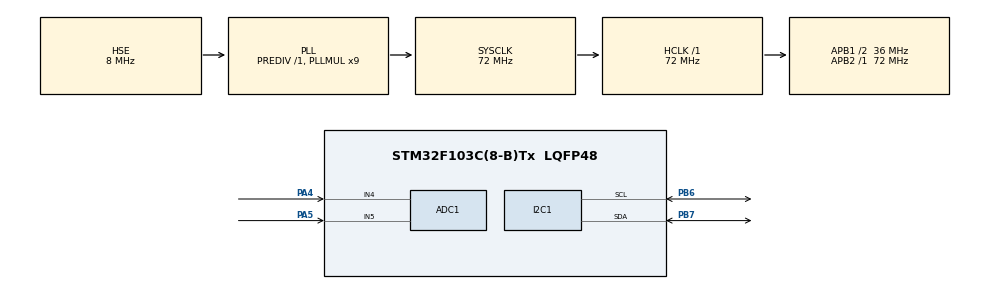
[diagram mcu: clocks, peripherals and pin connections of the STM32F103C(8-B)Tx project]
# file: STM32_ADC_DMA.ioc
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ADC1.Channel-0\#ChannelRegularConversion=ADC_CHANNEL_4
ADC1.Channel-1\#ChannelRegularConversion=ADC_CHANNEL_5
ADC1.Channel-2\#ChannelRegularConversion=ADC_CHANNEL_TEMPSENSOR
ADC1.Channel-3\#ChannelRegularConversion=ADC_CHANNEL_VREFINT
ADC1.ContinuousConvMode=ENABLE
ADC1.NbrOfConversion=4
ADC1.NbrOfConversionFlag=1
ADC1.Rank-0\#ChannelRegularConversion=1
ADC1.Rank-1\#ChannelRegularConversion=2
ADC1.Rank-2\#ChannelRegularConversion=3
ADC1.Rank-3\#ChannelRegularConversion=4
ADC1.SamplingTime-0\#ChannelRegularConversion=ADC_SAMPLETIME_71CYCLES_5
ADC1.SamplingTime-1\#ChannelRegularConversion=ADC_SAMPLETIME_71CYCLES_5
ADC1.SamplingTime-2\#ChannelRegularConversion=ADC_SAMPLETIME_71CYCLES_5
ADC1.SamplingTime-3\#ChannelRegularConversion=ADC_SAMPLETIME_71CYCLES_5
ADC1.master=1
Dma.ADC1.0.Direction=DMA_PERIPH_TO_MEMORY
Dma.ADC1.0.Instance=DMA1_Channel1
Dma.ADC1.0.MemDataAlignment=DMA_MDATAALIGN_WORD
Dma.ADC1.0.MemInc=DMA_MINC_ENABLE
Dma.ADC1.0.Mode=DMA_CIRCULAR
Dma.ADC1.0.PeriphDataAlignment=DMA_PDATAALIGN_WORD
Dma.ADC1.0.PeriphInc=DMA_PINC_DISABLE
Dma.ADC1.0.Priority=DMA_PRIORITY_MEDIUM
Dma.Request0=ADC1
I2C1.I2C_Mode=I2C_Fast
Mcu.Family=STM32F1
Mcu.Name=STM32F103C(8-B)Tx
Mcu.Package=LQFP48
NVIC.DMA1_Channel1_IRQn=true\:0\:0\:false\:false\:true\:false\:true\:true
NVIC.PriorityGroup=NVIC_PRIORITYGROUP_4
PA13.Mode=Serial_Wire
PA13.Signal=SYS_JTMS-SWDIO
PA14.Mode=Serial_Wire
PA14.Signal=SYS_JTCK-SWCLK
PA4.Signal=ADCx_IN4
PA5.Signal=ADCx_IN5
PB6.Mode=I2C
PB6.Signal=I2C1_SCL
PB7.Mode=I2C
PB7.Signal=I2C1_SDA
PD0-OSC_IN.Mode=HSE-External-Oscillator
PD0-OSC_IN.Signal=RCC_OSC_IN
PD1-OSC_OUT.Mode=HSE-External-Oscillator
PD1-OSC_OUT.Signal=RCC_OSC_OUT
ProjectManager.HeapSize=0x200
ProjectManager.StackSize=0x400
ProjectManager.TargetToolchain=STM32CubeIDE
RCC.ADCPresc=RCC_ADCPCLK2_DIV6
RCC.AHBFreq_Value=72000000
RCC.APB1CLKDivider=RCC_HCLK_DIV2
RCC.APB1Freq_Value=36000000
RCC.APB1TimFreq_Value=72000000
RCC.APB2Freq_Value=72000000
RCC.APB2TimFreq_Value=72000000
RCC.HCLKFreq_Value=72000000
RCC.PLLMUL=RCC_PLL_MUL9
RCC.PLLSourceVirtual=RCC_PLLSOURCE_HSE
RCC.SYSCLKFreq_VALUE=72000000
RCC.SYSCLKSource=RCC_SYSCLKSOURCE_PLLCLK
RCC.USBFreq_Value=72000000
SH.ADCx_IN4.0=ADC1_IN4,IN4
SH.ADCx_IN5.0=ADC1_IN5,IN5
VP_ADC1_TempSens_Input.Mode=IN-TempSens
VP_ADC1_Vref_Input.Mode=IN-Vrefint
board=custom

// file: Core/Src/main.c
/* USER CODE BEGIN Header */
/**
  ******************************************************************************
  * @file           : main.c
  * @brief          : Main program body
  ******************************************************************************
  * @attention
  *
  * Copyright (c) 2025 STMicroelectronics.
  * All rights reserved.
  *
  * This software is licensed under terms that can be found in the LICENSE file
  * in the root directory of this software component.
  * If no LICENSE file comes with this software, it is provided AS-IS.
  *
  ******************************************************************************
  */
/* USER CODE END Header */
#include "main.h"
#include "adc.h"
#include "dma.h"
#include "i2c.h"
#include "gpio.h"

/* USER CODE BEGIN Includes */
#include "string.h."
#include "oled.h"
#include "stdio.h"
#include "ntc.h"
/* USER CODE END Includes */

/* USER CODE BEGIN PV */
uint32_t values[4];
char message1[50];
char message2[50];
/* USER CODE END PV */

void SystemClock_Config(void);

int main(void)
{

  /* MCU Configuration--------------------------------------------------------*/

  /* Reset of all peripherals, Initializes the Flash interface and the Systick. */
  HAL_Init();

  /* Configure the system clock */
  SystemClock_Config();

  /* Initialize all configured peripherals */
  MX_GPIO_Init();
  MX_DMA_Init();
  MX_ADC1_Init();
  MX_I2C1_Init();
  /* USER CODE BEGIN 2 */

    HAL_Delay(20);
    OLED_Init();
    OLED_Startup();

    HAL_ADCEx_Calibration_Start(&hadc1);
    HAL_ADC_Start_DMA(&hadc1,values,sizeof(values)/sizeof(uint32_t));

    float NTC_R=0;
    float temperature=0;

    float Vref=0;
    float voltage=0;

  /* USER CODE END 2 */

  /* Infinite loop */
  /* USER CODE BEGIN WHILE */
  while (1)
  {
      NTC_R= ADC2Resistance(values[0]);
      temperature= resistance2Temperature(NTC_R);

      Vref=1.2*(4095.0/(float )values[3]);
      voltage=(values[1]/4095.0)*3.3;
      sprintf(message1,"NTC_R:%.2f,T:%.2f",NTC_R,temperature);
      sprintf(message2,"ADC:%d,V:%.2f",values[1],voltage);
      OLED_NewFrame();
      OLED_PrintASCIIString(0,0,message1,&afont8x6,OLED_COLOR_NORMAL);
      OLED_PrintASCIIString(0,17,message2,&afont8x6,OLED_COLOR_NORMAL);
      OLED_ShowFrame();

    /* USER CODE END WHILE */

  }
}

void SystemClock_Config(void)
{
  RCC_OscInitTypeDef RCC_OscInitStruct = {0};
  RCC_ClkInitTypeDef RCC_ClkInitStruct = {0};
  RCC_PeriphCLKInitTypeDef PeriphClkInit = {0};

  /** Initializes the RCC Oscillators according to the specified parameters
  * in the RCC_OscInitTypeDef structure.
  */
  RCC_OscInitStruct.OscillatorType = RCC_OSCILLATORTYPE_HSE;
  RCC_OscInitStruct.HSEState = RCC_HSE_ON;
  RCC_OscInitStruct.HSEPredivValue = RCC_HSE_PREDIV_DIV1;
  RCC_OscInitStruct.HSIState = RCC_HSI_ON;
  RCC_OscInitStruct.PLL.PLLState = RCC_PLL_ON;
  RCC_OscInitStruct.PLL.PLLSource = RCC_PLLSOURCE_HSE;
  RCC_OscInitStruct.PLL.PLLMUL = RCC_PLL_MUL9;
  if (HAL_RCC_OscConfig(&RCC_OscInitStruct) != HAL_OK)
  {
    Error_Handler();
  }

  /** Initializes the CPU, AHB and APB buses clocks
  */
  RCC_ClkInitStruct.ClockType = RCC_CLOCKTYPE_HCLK|RCC_CLOCKTYPE_SYSCLK
                              |RCC_CLOCKTYPE_PCLK1|RCC_CLOCKTYPE_PCLK2;
  RCC_ClkInitStruct.SYSCLKSource = RCC_SYSCLKSOURCE_PLLCLK;
  RCC_ClkInitStruct.AHBCLKDivider = RCC_SYSCLK_DIV1;
  RCC_ClkInitStruct.APB1CLKDivider = RCC_HCLK_DIV2;
  RCC_ClkInitStruct.APB2CLKDivider = RCC_HCLK_DIV1;

  if (HAL_RCC_ClockConfig(&RCC_ClkInitStruct, FLASH_LATENCY_2) != HAL_OK)
  {
    Error_Handler();
  }
  PeriphClkInit.PeriphClockSelection = RCC_PERIPHCLK_ADC;
  PeriphClkInit.AdcClockSelection = RCC_ADCPCLK2_DIV6;
  if (HAL_RCCEx_PeriphCLKConfig(&PeriphClkInit) != HAL_OK)
  {
    Error_Handler();
  }
}

void Error_Handler(void)
{
  __disable_irq();
  while (1)
  {
  }
}
